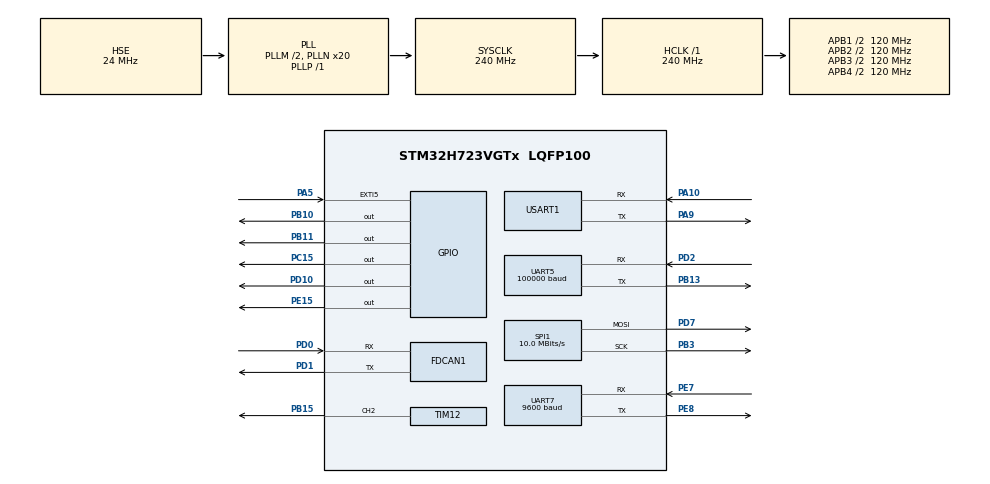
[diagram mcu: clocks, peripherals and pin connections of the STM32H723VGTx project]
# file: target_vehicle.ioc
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CORTEX_M7.AccessPermission_Spec=MPU_REGION_FULL_ACCESS
CORTEX_M7.BaseAddress_Spec=0x30000000
CORTEX_M7.CPU_DCache=Disabled
CORTEX_M7.CPU_ICache=Disabled
CORTEX_M7.IsShareable_Spec=MPU_ACCESS_SHAREABLE
CORTEX_M7.MPU_Control=__NULL
CORTEX_M7.Size_Spec=MPU_REGION_SIZE_16KB
CORTEX_M7.default_mode_Activation=1
Dma.Request0=UART5_RX
Dma.UART5_RX.0.Direction=DMA_PERIPH_TO_MEMORY
Dma.UART5_RX.0.EventEnable=DISABLE
Dma.UART5_RX.0.FIFOMode=DMA_FIFOMODE_DISABLE
Dma.UART5_RX.0.Instance=DMA1_Stream0
Dma.UART5_RX.0.MemDataAlignment=DMA_MDATAALIGN_BYTE
Dma.UART5_RX.0.MemInc=DMA_MINC_ENABLE
Dma.UART5_RX.0.Mode=DMA_CIRCULAR
Dma.UART5_RX.0.PeriphDataAlignment=DMA_PDATAALIGN_BYTE
Dma.UART5_RX.0.PeriphInc=DMA_PINC_DISABLE
Dma.UART5_RX.0.Polarity=HAL_DMAMUX_REQ_GEN_RISING
Dma.UART5_RX.0.Priority=DMA_PRIORITY_HIGH
Dma.UART5_RX.0.RequestNumber=1
Dma.UART5_RX.0.SignalID=NONE
Dma.UART5_RX.0.SyncEnable=DISABLE
Dma.UART5_RX.0.SyncPolarity=HAL_DMAMUX_SYNC_NO_EVENT
Dma.UART5_RX.0.SyncRequestNumber=1
Dma.UART5_RX.0.SyncSignalID=NONE
FDCAN1.AutoRetransmission=ENABLE
FDCAN1.CalculateBaudRateNominal=1000000
FDCAN1.CalculateTimeBitNominal=1000
FDCAN1.CalculateTimeQuantumNominal=50.0
FDCAN1.DataSyncJumpWidth=2
FDCAN1.DataTimeSeg1=13
FDCAN1.DataTimeSeg2=2
FDCAN1.ExtFiltersNbr=4
FDCAN1.FrameFormat=FDCAN_FRAME_CLASSIC
FDCAN1.Mode=FDCAN_MODE_NORMAL
FDCAN1.NominalPrescaler=4
FDCAN1.NominalTimeSeg1=15
FDCAN1.NominalTimeSeg2=4
FDCAN1.RxBuffersNbr=2
FDCAN1.RxFifo0ElmtsNbr=10
FDCAN1.RxFifo1ElmtsNbr=10
FDCAN1.StdFiltersNbr=4
FDCAN1.TransmitPause=DISABLE
FDCAN1.TxBuffersNbr=10
FDCAN1.TxEventsNbr=10
FDCAN1.TxFifoQueueElmtsNbr=10
FREERTOS.Mutexes01=key_6220,Dynamic,NULL,Available
FREERTOS.Queues01=can_rx_queueHandle,16,16,1,Dynamic,NULL,NULL;ibus_rx_queue,16,18,1,Dynamic,NULL,NULL
FREERTOS.Tasks01=can_handle,40,256,StartDefaultTask,Default,NULL,Dynamic,NULL,NULL;MotorSendTask,24,512,StartTask02,Default,NULL,Dynamic,NULL,NULL;ZDT_Control,24,256,StartTask03,Default,NULL,Dynamic,NULL,NULL;task_lcd_loop,8,512,StartTask04,Default,NULL,Dynamic,NULL,NULL;task_ibus_recv,24,256,StartTask05,Default,NULL,Dynamic,NULL,NULL;task_chassis_lo,24,256,StartTask06,Default,NULL,Dynamic,NULL,NULL;CmdUart,40,256,StartTask07,Default,NULL,Dynamic,NULL,NULL;SafetyTaskHandl,40,256,StartTask08,Default,NULL,Dynamic,NULL,NULL
Mcu.Family=STM32H7
Mcu.Name=STM32H723VGTx
Mcu.Package=LQFP100
NVIC.DMA1_Stream0_IRQn=true\:5\:0\:false\:false\:true\:true\:false\:true\:true
NVIC.EXTI9_5_IRQn=true\:6\:0\:true\:false\:true\:true\:true\:true\:true
NVIC.FDCAN1_IT0_IRQn=true\:6\:0\:true\:false\:true\:true\:true\:true\:true
NVIC.PriorityGroup=NVIC_PRIORITYGROUP_4
NVIC.TIM1_UP_IRQn=true\:15\:0\:false\:false\:true\:false\:false\:true\:true
NVIC.TimeBase=TIM1_UP_IRQn
NVIC.TimeBaseIP=TIM1
NVIC.UART5_IRQn=true\:5\:0\:false\:false\:true\:true\:true\:true\:true
NVIC.UART7_IRQn=true\:5\:0\:false\:false\:true\:true\:true\:true\:true
PA10.Mode=Asynchronous
PA10.Signal=USART1_RX
PA13(JTMS/SWDIO).Mode=Serial_Wire
PA13(JTMS/SWDIO).Signal=DEBUG_JTMS-SWDIO
PA14(JTCK/SWCLK).Mode=Serial_Wire
PA14(JTCK/SWCLK).Signal=DEBUG_JTCK-SWCLK
PA5.GPIO_ModeDefaultEXTI=GPIO_MODE_IT_FALLING
PA5.GPIO_PuPd=GPIO_PULLUP
PA5.Signal=GPXTI5
PA9.Mode=Asynchronous
PA9.Signal=USART1_TX
PB10.GPIO_Speed=GPIO_SPEED_FREQ_HIGH
PB10.PinState=GPIO_PIN_RESET
PB10.Signal=GPIO_Output
PB11.GPIO_Speed=GPIO_SPEED_FREQ_HIGH
PB11.PinState=GPIO_PIN_RESET
PB11.Signal=GPIO_Output
PB13.Mode=Asynchronous
PB13.Signal=UART5_TX
PB15.Signal=S_TIM12_CH2
PB3(JTDO/TRACESWO).Mode=TX_Only_Simplex_Unidirect_Master
PB3(JTDO/TRACESWO).Signal=SPI1_SCK
PC15-OSC32_OUT.PinState=GPIO_PIN_SET
PC15-OSC32_OUT.Signal=GPIO_Output
PD0.Mode=FDCAN_Activate
PD0.Signal=FDCAN1_RX
PD1.Mode=FDCAN_Activate
PD1.Signal=FDCAN1_TX
PD10.GPIO_Speed=GPIO_SPEED_FREQ_HIGH
PD10.PinState=GPIO_PIN_RESET
PD10.Signal=GPIO_Output
PD2.Mode=Asynchronous
PD2.Signal=UART5_RX
PD7.Mode=TX_Only_Simplex_Unidirect_Master
PD7.Signal=SPI1_MOSI
PE15.GPIO_Speed=GPIO_SPEED_FREQ_HIGH
PE15.PinState=GPIO_PIN_RESET
PE15.Signal=GPIO_Output
PE7.Mode=Asynchronous
PE7.Signal=UART7_RX
PE8.Mode=Asynchronous
PE8.Signal=UART7_TX
PH0-OSC_IN.Mode=HSE-External-Oscillator
PH0-OSC_IN.Signal=RCC_OSC_IN
PH1-OSC_OUT.Mode=HSE-External-Oscillator
PH1-OSC_OUT.Signal=RCC_OSC_OUT
ProjectManager.HeapSize=0x200
ProjectManager.StackSize=0x400
ProjectManager.TargetToolchain=CMake
RCC.ADCFreq_Value=48375000
RCC.APB1Freq_Value=120000000
RCC.APB2Freq_Value=120000000
RCC.APB3Freq_Value=120000000
RCC.APB4Freq_Value=120000000
RCC.CortexFreq_Value=240000000
RCC.D1PPRE=RCC_APB3_DIV2
RCC.D2PPRE1=RCC_APB1_DIV2
RCC.D2PPRE2=RCC_APB2_DIV2
RCC.D3PPRE=RCC_APB4_DIV2
RCC.DIVM1=2
RCC.DIVN1=20
RCC.DIVP1=1
RCC.DIVQ1=3
RCC.EnbaleCSS=true
RCC.HCLKFreq_Value=240000000
RCC.HSE_VALUE=24000000
RCC.PLL2FRACN=0
RCC.PLL3FRACN=0
RCC.PLLFRACN=0
RCC.PLLSourceVirtual=RCC_PLLSOURCE_HSE
RCC.SYSCLKFreq_VALUE=240000000
RCC.SYSCLKSource=RCC_SYSCLKSOURCE_PLLCLK
RCC.USBFreq_Value=80000000
SH.S_TIM12_CH2.0=TIM12_CH2,PWM Generation2 CH2
SPI1.BaudRatePrescaler=SPI_BAUDRATEPRESCALER_8
SPI1.CLKPolarity=SPI_POLARITY_HIGH
SPI1.CalculateBaudRate=10.0 MBits/s
SPI1.DataSize=SPI_DATASIZE_8BIT
SPI1.Direction=SPI_DIRECTION_2LINES_TXONLY
SPI1.Mode=SPI_MODE_MASTER
SPI1.VirtualType=VM_MASTER
TIM12.AutoReloadPreload=TIM_AUTORELOAD_PRELOAD_ENABLE
TIM12.Channel-PWM\ Generation2\ CH2=TIM_CHANNEL_2
TIM12.Period=999
TIM12.Prescaler=550
TIM12.Pulse-PWM\ Generation2\ CH2=499
UART5.BaudRate=100000
UART5.Parity=PARITY_EVEN
UART5.WordLength=WORDLENGTH_9B
UART7.BaudRate=9600
USART1.VirtualMode-Asynchronous=VM_ASYNC
VP_FREERTOS_VS_CMSIS_V2.Mode=CMSIS_V2
VP_MEMORYMAP_VS_MEMORYMAP.Mode=CurAppReg
VP_SYS_VS_tim1.Mode=TIM1
VP_TIM12_VS_ClockSourceINT.Mode=Internal
board=custom

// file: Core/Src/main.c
/* USER CODE BEGIN Header */
/**
  ******************************************************************************
  * @file           : main.c
  * @brief          : Main program body
  ******************************************************************************
  * @attention
  *
  * Copyright (c) 2026 STMicroelectronics.
  * All rights reserved.
  *
  * This software is licensed under terms that can be found in the LICENSE file
  * in the root directory of this software component.
  * If no LICENSE file comes with this software, it is provided AS-IS.
  *
  ******************************************************************************
  */
/* USER CODE END Header */
#include "main.h"
#include "FreeRTOS.h"
#include "cmsis_os2.h"
#include "dma.h"
#include "fdcan.h"
#include "spi.h"
#include "tim.h"
#include "usart.h"
#include "gpio.h"

/* USER CODE BEGIN Includes */
#include "lcd_driver.h"
#include "pic.h"
#include "bsp_fdcan.h"
#include "bsp_uart.h"
/* USER CODE END Includes */

/* USER CODE BEGIN PD */
#define ABS(x) ((x) < 0 ? -(x) : (x))
/* USER CODE END PD */

void SystemClock_Config(void);
void MX_FREERTOS_Init(void);

/* USER CODE BEGIN 0 */
/* printf 重定向到 USART1 */
int __io_putchar(int ch) {
    if (ch == '\n') {
        uint8_t cr = '\r';
        HAL_UART_Transmit(&huart1, &cr, 1, HAL_MAX_DELAY);
    }
    uint8_t c = (uint8_t)ch;
    HAL_UART_Transmit(&huart1, &c, 1, HAL_MAX_DELAY);
    return ch;
}
/* USER CODE END 0 */

int main(void)
{

  /* MCU Configuration--------------------------------------------------------*/

  /* Reset of all peripherals, Initializes the Flash interface and the Systick. */
  HAL_Init();

  /* Configure the system clock */
  SystemClock_Config();

  /* Initialize all configured peripherals */
  MX_GPIO_Init();
  MX_DMA_Init();
  MX_TIM12_Init();
  MX_FDCAN1_Init();
  MX_USART1_UART_Init();
  MX_SPI1_Init();
  MX_UART5_Init();
  MX_UART7_Init();
  /* USER CODE BEGIN 2 */

		//HAL_TIM_PWM_Start(&htim12, TIM_CHANNEL_2);

		lcd_init();
		lcd_clear(CLR_BLACK);

		lcd_show_picture(90, 20, 70, 50, gImage_pic);
		/* "小弹丸击打数：" GB2312 转义字节 */
		lcd_show_chinese(10, 100,
			(uint8_t *)"\xD0\xA1\xB5\xAF\xCD\xE8\xBB\xF7\xB4\xF2\xCA\xFD\xA3\xBA",
			CLR_WHITE, CLR_BLACK, 24);
		/* "大弹丸击打数：" GB2312 转义字节 */
		lcd_show_chinese(10, 150,
			(uint8_t *)"\xB4\xF3\xB5\xAF\xCD\xE8\xBB\xF7\xB4\xF2\xCA\xFD\xA3\xBA",
			CLR_WHITE, CLR_BLACK, 24);
		lcd_show_string(180, 100, (uint8_t *)"0", CLR_BRRED, CLR_BLACK, 24);
		lcd_show_string(180, 150, (uint8_t *)"0", CLR_BRRED, CLR_BLACK, 24);

	// ========== 底盘电机 PID 初始化 ==========
	bsp_fdcan_init();
	bsp_usart_init();

  /* USER CODE END 2 */

  /* Init scheduler */
  osKernelInitialize();  /* Call init function for freertos objects (in cmsis_os2.c) */
  MX_FREERTOS_Init();

  /* Start scheduler */
  osKernelStart();

  /* We should never get here as control is now taken by the scheduler */

  /* Infinite loop */
  while (1)
  {

    /* USER CODE BEGIN 3 */
    /*蜂鸣器

		i++;
 if(i>10000)
	 {
 if(state==0)
	{
		state=1;
		i=0;
	}
	 else
	 {
		 state=0;
		 i=0;
	 }
 if(now!=state){
	 now=state;
	if(state==1){
	__HAL_TIM_SET_COMPARE(&htim12, TIM_CHANNEL_2,100 );

	}
 else{
  __HAL_TIM_SET_COMPARE(&htim12, TIM_CHANNEL_2,500 );

 }
 }
 }*/

  }
  /* USER CODE END 3 */
}

void SystemClock_Config(void)
{
  RCC_OscInitTypeDef RCC_OscInitStruct = {0};
  RCC_ClkInitTypeDef RCC_ClkInitStruct = {0};

  /** Supply configuration update enable
  */
  HAL_PWREx_ConfigSupply(PWR_LDO_SUPPLY);

  /** Configure the main internal regulator output voltage
  */
  __HAL_PWR_VOLTAGESCALING_CONFIG(PWR_REGULATOR_VOLTAGE_SCALE0);

  while(!__HAL_PWR_GET_FLAG(PWR_FLAG_VOSRDY)) {}

  /** Initializes the RCC Oscillators according to the specified parameters
  * in the RCC_OscInitTypeDef structure.
  */
  RCC_OscInitStruct.OscillatorType = RCC_OSCILLATORTYPE_HSE;
  RCC_OscInitStruct.HSEState = RCC_HSE_ON;
  RCC_OscInitStruct.PLL.PLLState = RCC_PLL_ON;
  RCC_OscInitStruct.PLL.PLLSource = RCC_PLLSOURCE_HSE;
  RCC_OscInitStruct.PLL.PLLM = 2;
  RCC_OscInitStruct.PLL.PLLN = 20;
  RCC_OscInitStruct.PLL.PLLP = 1;
  RCC_OscInitStruct.PLL.PLLQ = 3;
  RCC_OscInitStruct.PLL.PLLR = 2;
  RCC_OscInitStruct.PLL.PLLRGE = RCC_PLL1VCIRANGE_3;
  RCC_OscInitStruct.PLL.PLLVCOSEL = RCC_PLL1VCOWIDE;
  RCC_OscInitStruct.PLL.PLLFRACN = 0;
  if (HAL_RCC_OscConfig(&RCC_OscInitStruct) != HAL_OK)
  {
    Error_Handler();
  }

  /** Initializes the CPU, AHB and APB buses clocks
  */
  RCC_ClkInitStruct.ClockType = RCC_CLOCKTYPE_HCLK|RCC_CLOCKTYPE_SYSCLK
                              |RCC_CLOCKTYPE_PCLK1|RCC_CLOCKTYPE_PCLK2
                              |RCC_CLOCKTYPE_D3PCLK1|RCC_CLOCKTYPE_D1PCLK1;
  RCC_ClkInitStruct.SYSCLKSource = RCC_SYSCLKSOURCE_PLLCLK;
  RCC_ClkInitStruct.SYSCLKDivider = RCC_SYSCLK_DIV1;
  RCC_ClkInitStruct.AHBCLKDivider = RCC_HCLK_DIV1;
  RCC_ClkInitStruct.APB3CLKDivider = RCC_APB3_DIV2;
  RCC_ClkInitStruct.APB1CLKDivider = RCC_APB1_DIV2;
  RCC_ClkInitStruct.APB2CLKDivider = RCC_APB2_DIV2;
  RCC_ClkInitStruct.APB4CLKDivider = RCC_APB4_DIV2;

  if (HAL_RCC_ClockConfig(&RCC_ClkInitStruct, FLASH_LATENCY_3) != HAL_OK)
  {
    Error_Handler();
  }

  /** Enables the Clock Security System
  */
  HAL_RCC_EnableCSS();
}

void HAL_TIM_PeriodElapsedCallback(TIM_HandleTypeDef *htim)
{
  if (htim->Instance == TIM1)
  {
    HAL_IncTick();
  }
}

void Error_Handler(void)
{
  __disable_irq();
  while (1)
  {
  }
}

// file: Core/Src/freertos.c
/* USER CODE BEGIN Header */
/**
  ******************************************************************************
  * File Name          : freertos.c
  * Description        : Code for freertos applications
  ******************************************************************************
  * @attention
  *
  * Copyright (c) 2026 STMicroelectronics.
  * All rights reserved.
  *
  * This software is licensed under terms that can be found in the LICENSE file
  * in the root directory of this software component.
  * If no LICENSE file comes with this software, it is provided AS-IS.
  *
  ******************************************************************************
  */
/* USER CODE END Header */

#include "FreeRTOS.h"
#include "task.h"
#include "main.h"
#include "FreeRTOS.h"
#include "cmsis_os2.h"

/* USER CODE BEGIN Includes */
#include "task_can_recv.h"
#include "task_gimbal.h"
#include "task_zdt.h"
#include "task_ibus.h"
#include "task_chassis.h"
#include "task_flash_lcd.h"
#include "task_cmd_uart.h"
#include "task_safety.h"
/* USER CODE END Includes */

/* Definitions for can_handle */
osThreadId_t can_handleHandle;
const osThreadAttr_t can_handle_attributes = {
  .name = "can_handle",
  .stack_size = 256 * 4,
  .priority = (osPriority_t) osPriorityHigh,
};
/* Definitions for MotorSendTask */
osThreadId_t MotorSendTaskHandle;
const osThreadAttr_t MotorSendTask_attributes = {
  .name = "MotorSendTask",
  .stack_size = 512 * 4,
  .priority = (osPriority_t) osPriorityNormal,
};
/* Definitions for ZDT_Control */
osThreadId_t ZDT_ControlHandle;
const osThreadAttr_t ZDT_Control_attributes = {
  .name = "ZDT_Control",
  .stack_size = 256 * 4,
  .priority = (osPriority_t) osPriorityNormal,
};
/* Definitions for task_lcd_loop */
osThreadId_t task_lcd_loopHandle;
const osThreadAttr_t task_lcd_loop_attributes = {
  .name = "task_lcd_loop",
  .stack_size = 512 * 4,
  .priority = (osPriority_t) osPriorityLow,
};
/* Definitions for task_ibus_recv */
osThreadId_t task_ibus_recvHandle;
const osThreadAttr_t task_ibus_recv_attributes = {
  .name = "task_ibus_recv",
  .stack_size = 256 * 4,
  .priority = (osPriority_t) osPriorityNormal,
};
/* Definitions for task_chassis_lo */
osThreadId_t task_chassis_loHandle;
const osThreadAttr_t task_chassis_lo_attributes = {
  .name = "task_chassis_lo",
  .stack_size = 256 * 4,
  .priority = (osPriority_t) osPriorityNormal,
};
/* Definitions for CmdUart */
osThreadId_t CmdUartHandle;
const osThreadAttr_t CmdUart_attributes = {
  .name = "CmdUart",
  .stack_size = 256 * 4,
  .priority = (osPriority_t) osPriorityHigh,
};
/* Definitions for SafetyTaskHandl */
osThreadId_t SafetyTaskHandlHandle;
const osThreadAttr_t SafetyTaskHandl_attributes = {
  .name = "SafetyTaskHandl",
  .stack_size = 256 * 4,
  .priority = (osPriority_t) osPriorityHigh,
};
/* Definitions for can_rx_queueHandle */
osMessageQueueId_t can_rx_queueHandleHandle;
const osMessageQueueAttr_t can_rx_queueHandle_attributes = {
  .name = "can_rx_queueHandle"
};
/* Definitions for ibus_rx_queue */
osMessageQueueId_t ibus_rx_queueHandle;
const osMessageQueueAttr_t ibus_rx_queue_attributes = {
  .name = "ibus_rx_queue"
};
/* Definitions for key_6220 */
osMutexId_t key_6220Handle;
const osMutexAttr_t key_6220_attributes = {
  .name = "key_6220"
};

void StartDefaultTask(void *argument);
void StartTask02(void *argument);
void StartTask03(void *argument);
void StartTask04(void *argument);
void StartTask05(void *argument);
void StartTask06(void *argument);
void StartTask07(void *argument);
void StartTask08(void *argument);

void MX_FREERTOS_Init(void); /* (MISRA C 2004 rule 8.1) */

void MX_FREERTOS_Init(void) {
  /* Create the mutex(es) */
  /* creation of key_6220 */
  key_6220Handle = osMutexNew(&key_6220_attributes);

  /* Create the queue(s) */
  /* creation of can_rx_queueHandle */
  can_rx_queueHandleHandle = osMessageQueueNew (16, 16, &can_rx_queueHandle_attributes);

  /* creation of ibus_rx_queue */
  ibus_rx_queueHandle = osMessageQueueNew (16, 18, &ibus_rx_queue_attributes);

  /* USER CODE BEGIN RTOS_QUEUES */
  /* add queues, ... */
  task_cmd_uart_init();
  /* USER CODE END RTOS_QUEUES */

  /* Create the thread(s) */
  /* creation of can_handle */
  can_handleHandle = osThreadNew(StartDefaultTask, NULL, &can_handle_attributes);

  /* creation of MotorSendTask */
  MotorSendTaskHandle = osThreadNew(StartTask02, NULL, &MotorSendTask_attributes);

  /* creation of ZDT_Control */
  ZDT_ControlHandle = osThreadNew(StartTask03, NULL, &ZDT_Control_attributes);

  /* creation of task_lcd_loop */
  task_lcd_loopHandle = osThreadNew(StartTask04, NULL, &task_lcd_loop_attributes);

  /* creation of task_ibus_recv */
  task_ibus_recvHandle = osThreadNew(StartTask05, NULL, &task_ibus_recv_attributes);

  /* creation of task_chassis_lo */
  task_chassis_loHandle = osThreadNew(StartTask06, NULL, &task_chassis_lo_attributes);

  /* creation of CmdUart */
  CmdUartHandle = osThreadNew(StartTask07, NULL, &CmdUart_attributes);

  /* creation of SafetyTaskHandl */
  SafetyTaskHandlHandle = osThreadNew(StartTask08, NULL, &SafetyTaskHandl_attributes);

}

void StartDefaultTask(void *argument)
{
  /* USER CODE BEGIN StartDefaultTask */
  task_can_recv(argument);
  /* USER CODE END StartDefaultTask */
}

void StartTask02(void *argument)
{
  /* USER CODE BEGIN StartTask02 */
  task_gimbal_loop(argument);
  /* USER CODE END StartTask02 */
}

void StartTask03(void *argument)
{
  /* USER CODE BEGIN StartTask03 */
  task_zdt_loop(argument);
  /* USER CODE END StartTask03 */
}

void StartTask04(void *argument)
{
  /* USER CODE BEGIN StartTask04 */
  task_flash_lcd_loop(argument);
  /* USER CODE END StartTask04 */
}

void StartTask05(void *argument)
{
  /* USER CODE BEGIN StartTask05 */
  task_ibus_recv(argument);
  /* USER CODE END StartTask05 */
}

void StartTask06(void *argument)
{
  /* USER CODE BEGIN StartTask06 */
  task_chassis_loop(argument);
  /* USER CODE END StartTask06 */
}

void StartTask07(void *argument)
{
  /* USER CODE BEGIN StartTask07 */
  task_cmd_uart_loop(argument);   /* 上位机命令解析（内部是 while(1)）*/
  /* USER CODE END StartTask07 */
}

void StartTask08(void *argument)
{
  /* USER CODE BEGIN StartTask08 */
  /* Infinite loop */
  for(;;)
  {
    task_safety_loop(argument);
    osDelay(1);
  }
  /* USER CODE END StartTask08 */
}
